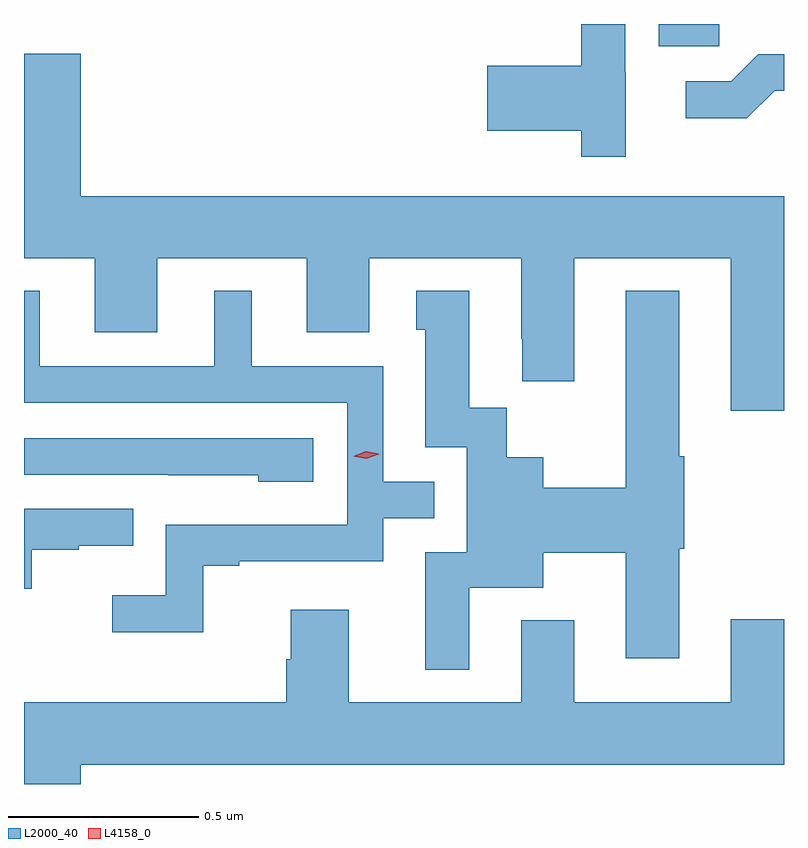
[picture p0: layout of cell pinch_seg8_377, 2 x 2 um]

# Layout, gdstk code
import gdstk
lib = gdstk.Library(unit=1e-6, precision=1e-09)
def R(c, l, rs):  # rectangles x0, y0, x1, y1
    for r in rs: c.add(gdstk.rectangle(r[:2], r[2:], *l))
def P(c, l, *ps):  # polygons
    for p in ps: c.add(gdstk.Polygon(p, *l))
L2000_40 = (2000, 40)
L4158_0 = (4158, 0)

pinch_seg8_377 = lib.new_cell('pinch_seg8_377')
R(pinch_seg8_377, L2000_40, [(406.454,1106.403,406.612,1106.461)])
P(pinch_seg8_377, L2000_40, [(406.366,1106.334),(406.365,1106.334),(406.365,1106.461),(406.249,1106.461),(406.249,1106.351),(406.002,1106.351),(406.002,1106.18),(406.249,1106.18),(406.249,1106.112),(406.366,1106.112)],
  [(406.783,1106.008),(404.932,1106.008),(404.932,1106.383),(404.783,1106.383),(404.783,1105.844),(404.969,1105.844),(404.969,1105.65),(405.133,1105.65),(405.133,1105.844),(405.527,1105.844),(405.527,1105.65),(405.691,1105.65),(405.691,1105.844),(406.091,1105.844),(406.091,1105.633),(406.094,1105.633),(406.094,1105.521),(406.231,1105.521),(406.231,1105.844),(406.643,1105.844),(406.643,1105.443),(406.783,1105.443)],
  [(406.758,1106.286),(406.783,1106.286),(406.783,1106.381),(406.715,1106.381),(406.644,1106.31),(406.524,1106.31),(406.524,1106.213),(406.685,1106.213)],
  [(405.255,1105.035),(405.349,1105.035),(405.349,1105.047),(405.729,1105.047),(405.729,1105.161),(405.862,1105.161),(405.862,1105.257),(405.729,1105.257),(405.729,1105.56),(405.382,1105.56),(405.382,1105.759),(405.284,1105.759),(405.284,1105.56),(404.824,1105.56),(404.824,1105.759),(404.783,1105.759),(404.783,1105.464),(405.633,1105.464),(405.633,1105.143),(405.156,1105.143),(405.156,1104.958),(405.015,1104.958),(405.015,1104.86),(405.255,1104.86)],
  [(405.955,1104.977),(406.15,1104.977),(406.15,1105.069),(406.367,1105.069),(406.367,1104.792),(406.507,1104.792),(406.507,1105.08),(406.52,1105.08),(406.52,1105.324),(406.507,1105.324),(406.507,1105.759),(406.367,1105.759),(406.367,1105.241),(406.15,1105.241),(406.15,1105.321),(406.053,1105.321),(406.053,1105.451),(405.955,1105.451),(405.955,1105.759),(405.815,1105.759),(405.815,1105.656),(405.839,1105.656),(405.839,1105.347),(405.948,1105.347),(405.948,1105.071),(405.839,1105.071),(405.839,1104.762),(405.955,1104.762)],
  [(405.544,1105.371),(404.783,1105.371),(404.783,1105.275),(405.163,1105.275),(405.163,1105.274),(405.399,1105.274),(405.399,1105.256),(405.544,1105.256)],
  [(404.804,1105.077),(404.927,1105.077),(404.927,1105.088),(405.071,1105.088),(405.071,1105.185),(404.783,1105.185),(404.783,1104.975),(404.804,1104.975)],
  [(404.932,1104.512),(406.783,1104.512),(406.783,1104.895),(406.643,1104.895),(406.643,1104.676),(406.231,1104.676),(406.231,1104.892),(406.091,1104.892),(406.091,1104.676),(405.637,1104.676),(405.637,1104.919),(405.485,1104.919),(405.485,1104.789),(405.473,1104.789),(405.473,1104.676),(404.783,1104.676),(404.783,1104.461),(404.932,1104.461)])
P(pinch_seg8_377, L4158_0, [(405.684,1105.317),(405.649,1105.324),(405.649,1105.324),(405.649,1105.324),(405.682,1105.337),(405.717,1105.33),(405.718,1105.329),(405.717,1105.329)])

lib.write_gds('pinch_seg8_377.gds')
